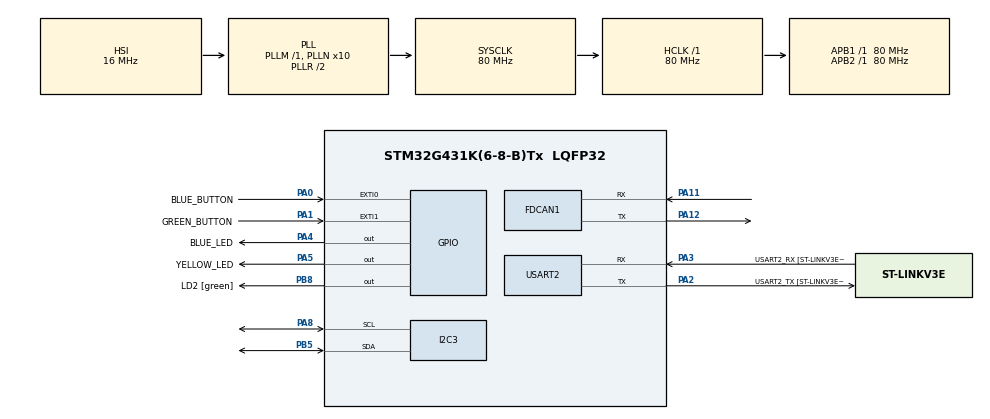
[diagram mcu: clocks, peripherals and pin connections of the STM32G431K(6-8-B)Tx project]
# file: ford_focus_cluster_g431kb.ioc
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ADC1.Channel-0\#ChannelRegularConversion=ADC_CHANNEL_TEMPSENSOR_ADC1
ADC1.Channel-1\#ChannelRegularConversion=ADC_CHANNEL_VREFINT
ADC1.ContinuousConvMode=ENABLE
ADC1.DMAContinuousRequests=ENABLE
ADC1.ExternalTrigConv=ADC_EXTERNALTRIG_T3_TRGO
ADC1.NbrOfConversion=2
ADC1.NbrOfConversionFlag=1
ADC1.OffsetNumber-0\#ChannelRegularConversion=ADC_OFFSET_NONE
ADC1.OffsetNumber-1\#ChannelRegularConversion=ADC_OFFSET_NONE
ADC1.Rank-0\#ChannelRegularConversion=1
ADC1.Rank-1\#ChannelRegularConversion=2
ADC1.SamplingTime-0\#ChannelRegularConversion=ADC_SAMPLETIME_640CYCLES_5
ADC1.SamplingTime-1\#ChannelRegularConversion=ADC_SAMPLETIME_640CYCLES_5
ADC1.master=1
Dma.ADC1.0.Direction=DMA_PERIPH_TO_MEMORY
Dma.ADC1.0.EventEnable=DISABLE
Dma.ADC1.0.Instance=DMA1_Channel1
Dma.ADC1.0.MemDataAlignment=DMA_MDATAALIGN_HALFWORD
Dma.ADC1.0.MemInc=DMA_MINC_ENABLE
Dma.ADC1.0.Mode=DMA_CIRCULAR
Dma.ADC1.0.PeriphDataAlignment=DMA_PDATAALIGN_HALFWORD
Dma.ADC1.0.PeriphInc=DMA_PINC_DISABLE
Dma.ADC1.0.Polarity=HAL_DMAMUX_REQ_GEN_RISING
Dma.ADC1.0.Priority=DMA_PRIORITY_LOW
Dma.ADC1.0.RequestNumber=1
Dma.ADC1.0.SignalID=NONE
Dma.ADC1.0.SyncEnable=DISABLE
Dma.ADC1.0.SyncPolarity=HAL_DMAMUX_SYNC_NO_EVENT
Dma.ADC1.0.SyncRequestNumber=1
Dma.ADC1.0.SyncSignalID=NONE
Dma.Request0=ADC1
FDCAN1.AutoRetransmission=ENABLE
FDCAN1.CalculateBaudRateNominal=125000
FDCAN1.CalculateTimeBitNominal=8000
FDCAN1.CalculateTimeQuantumNominal=500.0
FDCAN1.ClockDivider=FDCAN_CLOCK_DIV2
FDCAN1.DataPrescaler=20
FDCAN1.DataTimeSeg1=13
FDCAN1.DataTimeSeg2=2
FDCAN1.NominalPrescaler=20
FDCAN1.NominalTimeSeg1=13
FDCAN1.NominalTimeSeg2=2
FDCAN1.StdFiltersNbr=1
I2C3.Timing=0x10D19CE4
Mcu.Family=STM32G4
Mcu.Name=STM32G431K(6-8-B)Tx
Mcu.Package=LQFP32
NVIC.ADC1_2_IRQn=true\:0\:0\:false\:false\:true\:true\:true\:true
NVIC.DMA1_Channel1_IRQn=true\:0\:0\:false\:false\:true\:false\:true\:true
NVIC.EXTI1_IRQn=true\:0\:0\:false\:false\:true\:true\:true\:true
NVIC.FDCAN1_IT0_IRQn=true\:0\:0\:false\:false\:true\:true\:true\:true
NVIC.PriorityGroup=NVIC_PRIORITYGROUP_4
NVIC.RNG_IRQn=true\:0\:0\:false\:false\:true\:true\:true\:true
PA0.GPIO_Label=BLUE_BUTTON
PA0.GPIO_ModeDefaultEXTI=GPIO_MODE_IT_FALLING
PA0.GPIO_PuPd=GPIO_PULLUP
PA0.Signal=GPXTI0
PA1.GPIO_Label=GREEN_BUTTON
PA1.GPIO_ModeDefaultEXTI=GPIO_MODE_IT_FALLING
PA1.GPIO_PuPd=GPIO_PULLUP
PA1.Signal=GPXTI1
PA11.Mode=FDCAN_Activate
PA11.Signal=FDCAN1_RX
PA12.Mode=FDCAN_Activate
PA12.Signal=FDCAN1_TX
PA13.GPIO_Label=T_SWDIO
PA13.Mode=Serial_Wire
PA13.Signal=SYS_JTMS-SWDIO
PA14.GPIO_Label=T_SWCLK
PA14.Mode=Serial_Wire
PA14.Signal=SYS_JTCK-SWCLK
PA2.GPIO_Label=USART2_TX [ST-LINKV3E_VCP_RX]
PA2.Mode=Asynchronous
PA2.Signal=USART2_TX
PA3.GPIO_Label=USART2_RX [ST-LINKV3E_VCP_TX]
PA3.Mode=Asynchronous
PA3.Signal=USART2_RX
PA4.GPIO_Label=BLUE_LED
PA4.Signal=GPIO_Output
PA5.GPIO_Label=YELLOW_LED
PA5.Signal=GPIO_Output
PA8.Mode=I2C
PA8.Signal=I2C3_SCL
PB3.GPIO_Label=T_SWO
PB3.Signal=SYS_JTDO-SWO
PB5.Mode=I2C
PB5.Signal=I2C3_SDA
PB8-BOOT0.GPIO_Label=LD2 [green]
PB8-BOOT0.Signal=GPIO_Output
ProjectManager.HeapSize=0x200
ProjectManager.StackSize=0x400
ProjectManager.TargetToolchain=STM32CubeIDE
RCC.ADC12Freq_Value=80000000
RCC.AHBFreq_Value=80000000
RCC.APB1Freq_Value=80000000
RCC.APB1TimFreq_Value=80000000
RCC.APB2Freq_Value=80000000
RCC.APB2TimFreq_Value=80000000
RCC.CK48CLockSelection=RCC_USBCLKSOURCE_HSI48
RCC.CortexFreq_Value=80000000
RCC.EXTERNAL_CLOCK_VALUE=12288000
RCC.HCLKFreq_Value=80000000
RCC.HSE_VALUE=8000000
RCC.HSI48_VALUE=48000000
RCC.HSI_VALUE=16000000
RCC.LSE_VALUE=32768
RCC.PLLN=10
RCC.PLLQ=RCC_PLLQ_DIV4
RCC.SYSCLKFreq_VALUE=80000000
RCC.SYSCLKSource=RCC_SYSCLKSOURCE_PLLCLK
RCC.USBFreq_Value=48000000
RCC.VCOOutputFreq_Value=160000000
TIM3.PeriodNoDither=10000-1
TIM3.Prescaler=500-1
TIM3.TIM_MasterOutputTrigger=TIM_TRGO_UPDATE
USART2.VirtualMode-Asynchronous=VM_ASYNC
USART2.WordLength=WORDLENGTH_8B
VP_ADC1_TempSens_Input.Mode=IN-TempSens
VP_ADC1_Vref_Input.Mode=IN-Vrefint
VP_RNG_VS_RNG.Mode=RNG_Activate
VP_SYS_VS_DBSignals.Mode=DisableDeadBatterySignals
VP_TIM3_VS_ClockSourceINT.Mode=Internal
board=NUCLEO-G431KB

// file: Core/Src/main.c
/* USER CODE BEGIN Header */
/**
 ******************************************************************************
 * @file           : main.c
 * @brief          : Main program body
 ******************************************************************************
 * @attention
 *
 * Copyright (c) 2024 STMicroelectronics.
 * All rights reserved.
 *
 * This software is licensed under terms that can be found in the LICENSE file
 * in the root directory of this software component.
 * If no LICENSE file comes with this software, it is provided AS-IS.
 *
 ******************************************************************************
 */
/* USER CODE END Header */
#include "main.h"
#include "adc.h"
#include "dma.h"
#include "fdcan.h"
#include "i2c.h"
#include "rng.h"
#include "tim.h"
#include "usart.h"
#include "gpio.h"

/* USER CODE BEGIN Includes */
#include <stdio.h>
#include <stdlib.h>
#include <string.h>
#include <math.h>
#include "focus.h"
#include "ssd1306.h"

//#define USE_INTERNAL_TEMP_SENSOR

#ifdef USE_INTERNAL_TEMP_SENSOR
#include "internal_temp_sensor.h"
#endif
/* USER CODE END Includes */

/* USER CODE BEGIN PD */
#define CAN_MSG_REPEAT_PERIOD 100
#define CAN_MSG_TIME_INTERVAL 5
#define RANDOM_MSG_TIME_INTERVAL 2500

#define COOLANT_TEMPERATURE 90 // degC
#define FUEL_LEVEL 75 // %

#define DELAYED_START_INTERVAL 4000

#define TOGGLE_TIME_INTERVAL 1000

#define STOP_RANDOM_MSG
#define RANDOM_MSG_ID 0x100

//#define SEND_ALL_POSSIBLE_IDS
#define PATTERN_TO_BE_SEND  0xAA // 0b00011000 // 0xAA or 0x55

#define STARTING_FRAME 0x00

/* USER CODE END PD */

/* USER CODE BEGIN PV */
FDCAN_RxHeaderTypeDef RxHeader;
uint8_t RxData[8];

FDCAN_TxHeaderTypeDef TxHeader;
uint8_t TxData8[8];
uint8_t TxData8Random[8];
uint8_t Random8Bytes[8];
uint32_t TxMailbox;

uint16_t vehicle_speed = 0;

uint16_t engine_speed = 0;

uint32_t CanMsgSoftTimer;
uint32_t RandomMsgSoftTimer;
uint32_t DelayedStartSoftTimer;
uint32_t ToggleSoftTimer;
uint32_t OdometerSoftTimer;
uint32_t OledSoftTimer;

volatile uint8_t rng_number_flag = 0;
uint8_t rng_number_count = 0;
uint8_t rng_message_flag = 0;
uint32_t rng_number;

uint8_t toggle_variable = 0;
uint8_t flip_me_variable = 0xAA;  // odometer

volatile uint8_t green_button_flag = 0;

uint16_t msg_id = STARTING_FRAME;

char lcd_line[128];

#ifdef USE_INTERNAL_TEMP_SENSOR
typedef struct AdcValues
{

	uint16_t Raw[2]; /* Raw values from ADC */
	int32_t IntSensTmp; /* Temperature */

} adcval_t;

adcval_t Adc;

typedef struct Flags
{
	uint8_t ADCCMPLT;

} flag_t;

flag_t Flg =
{ 0, };
#endif

/* USER CODE END PV */

void SystemClock_Config(void);
/* USER CODE BEGIN PFP */
void MarkCanFrame(void);
void ComposeRandomMessage(void);
void DisplayUnits(void);
void EmulateIncreasingMileage(void);
/* USER CODE END PFP */

int main(void)
{

	/* MCU Configuration--------------------------------------------------------*/

	/* Reset of all peripherals, Initializes the Flash interface and the Systick. */
	HAL_Init();

	/* Configure the system clock */
	SystemClock_Config();

	/* Initialize all configured peripherals */
	MX_GPIO_Init();
	MX_DMA_Init();
	MX_USART2_UART_Init();
	MX_FDCAN1_Init();
	MX_I2C3_Init();
	MX_RNG_Init();
	MX_ADC1_Init();
	MX_TIM3_Init();
	/* USER CODE BEGIN 2 */

#ifdef USE_INTERNAL_TEMP_SENSOR
	HAL_ADCEx_Calibration_Start(&hadc1, ADC_SINGLE_ENDED);
	HAL_ADC_Start_DMA(&hadc1, (uint32_t*) Adc.Raw, 2);
	HAL_TIM_Base_Start(&htim3); /* This timer starts ADC conversion */
#endif

	ssd1306_Init();
	ssd1306_Fill(Black);
	ssd1306_SetCursor(20, 0);
	ssd1306_WriteString("ufnalski.edu.pl", Font_6x8, White);
	ssd1306_SetCursor(2, 11);
	ssd1306_WriteString("Ford Focus MK3 2013", Font_6x8, White);
	ssd1306_SetCursor(10, 22);
	ssd1306_WriteString("Instrument cluster", Font_6x8, White);
	ssd1306_SetCursor(2, 33);
	ssd1306_WriteString("CAN messages hacking", Font_6x8, White);
	ssd1306_UpdateScreen();

	HAL_RNG_GenerateRandomNumber_IT(&hrng);

	HAL_FDCAN_ConfigGlobalFilter(&hfdcan1, FDCAN_REJECT, FDCAN_REJECT,
	FDCAN_REJECT_REMOTE, FDCAN_REJECT_REMOTE);

	if (HAL_FDCAN_Start(&hfdcan1) != HAL_OK)
	{
		Error_Handler();
	}

	if (HAL_FDCAN_ActivateNotification(&hfdcan1, FDCAN_IT_RX_FIFO0_NEW_MESSAGE,
			0) != HAL_OK)
	{
		/* Notification Error */
		Error_Handler();
	}

	TxHeader.IdType = FDCAN_STANDARD_ID;
	TxHeader.TxFrameType = FDCAN_DATA_FRAME;
	TxHeader.ErrorStateIndicator = FDCAN_ESI_ACTIVE;
	TxHeader.BitRateSwitch = FDCAN_BRS_OFF;
	TxHeader.FDFormat = FDCAN_CLASSIC_CAN;
	TxHeader.TxEventFifoControl = FDCAN_NO_TX_EVENTS;
	TxHeader.MessageMarker = 0;

	CanMsgSoftTimer = HAL_GetTick();
	RandomMsgSoftTimer = HAL_GetTick();
	DelayedStartSoftTimer = HAL_GetTick();
	ToggleSoftTimer = HAL_GetTick();
	OdometerSoftTimer = HAL_GetTick();
	OledSoftTimer = HAL_GetTick();
	memset(RxData, 0xFF, sizeof(RxData));

	/* USER CODE END 2 */

	/* Infinite loop */
	/* USER CODE BEGIN WHILE */
	while (1)
	{

		if (HAL_GetTick() - ToggleSoftTimer > TOGGLE_TIME_INTERVAL)
		{
			ToggleSoftTimer = HAL_GetTick();
			toggle_variable ^= 1;
		}

#ifdef SEND_ALL_POSSIBLE_IDS
		if ((HAL_GetTick() - CanMsgSoftTimer > CAN_MSG_REPEAT_PERIOD)
				&& (msg_id <= 0x7FF))
		{
			CanMsgSoftTimer = HAL_GetTick();
			ssd1306_SetCursor(2, 44);
						sprintf(lcd_line, "Msg ID: %d of %d", msg_id, 0x7FF);
						ssd1306_WriteString(lcd_line, Font_6x8, White);
						ssd1306_UpdateScreen();

						PrintCanFrame0xToUart(&TxHeader, TxData8);
						MarkCanFrame();

			send_ignition_on(CAN_MSG_TIME_INTERVAL);

			HAL_Delay(CAN_MSG_TIME_INTERVAL);
			TxHeader.DataLength = FDCAN_DLC_BYTES_8;
			TxHeader.Identifier = msg_id;
			memset(TxData8, PATTERN_TO_BE_SEND, sizeof(TxData8));

			if (msg_id != 0x80) // something in this frame switches off the cluster permanently
			{
				if (HAL_FDCAN_AddMessageToTxFifoQ(&hfdcan1, &TxHeader, TxData8)
						!= HAL_OK)
				{
					Error_Handler();
				}
			}
			msg_id++;

			HAL_GPIO_TogglePin(BLUE_LED_GPIO_Port,
			BLUE_LED_Pin);
		}

#else

		ComposeRandomMessage();

		if (HAL_GetTick() - CanMsgSoftTimer > CAN_MSG_TIME_INTERVAL)
		{
			CanMsgSoftTimer = HAL_GetTick();

			if (HAL_GetTick() - DelayedStartSoftTimer > DELAYED_START_INTERVAL)
			{
				CalculateRpmSpeed(&engine_speed, &vehicle_speed);
			}

			HAL_Delay(CAN_MSG_TIME_INTERVAL);
			TxHeader.DataLength = FDCAN_DLC_BYTES_8;
			TxHeader.Identifier = RANDOM_MSG_ID;
			if ((HAL_GetTick() - RandomMsgSoftTimer > RANDOM_MSG_TIME_INTERVAL)
					&& (rng_message_flag == 1))
			{
				RandomMsgSoftTimer = HAL_GetTick();
				rng_message_flag = 0;
				HAL_RNG_GenerateRandomNumber_IT(&hrng);
				memcpy(TxData8Random, Random8Bytes, sizeof(TxData8Random));
				TxData8Random[0] = 0;
				TxData8Random[1] = 0xff;
				TxData8Random[2] = 0;
				TxData8Random[3] = 0;
				TxData8Random[4] = 0xff;
				TxData8Random[5] = 0;
				TxData8Random[6] = 0;
				TxData8Random[7] = 0;
				PrintCanFrame0bToUart(&TxHeader, TxData8Random);
				PrintCanFrame0xToUart(&TxHeader, TxData8Random);
			}
			MarkCanFrame();
			memcpy(TxData8, TxData8Random, sizeof(TxData8));
#ifndef STOP_RANDOM_MSG
			if (HAL_FDCAN_AddMessageToTxFifoQ(&hfdcan1, &TxHeader, TxData8)
					!= HAL_OK)
			{
				Error_Handler();
			}
#endif

			send_ignition_on(CAN_MSG_TIME_INTERVAL);
			send_engine_status(CAN_MSG_TIME_INTERVAL);
			send_battery_status(g_batt_fail, CAN_MSG_TIME_INTERVAL);

			EmulateIncreasingMileage();
			send_airbag_status(flip_me_variable, CAN_MSG_TIME_INTERVAL);

			send_dimming_mode(CAN_MSG_TIME_INTERVAL);
			send_dimm_level(CAN_MSG_TIME_INTERVAL);
			send_turn_indicator((g_turn_l && toggle_variable),
					(g_turn_r && toggle_variable),
					g_cruise_speed, CAN_MSG_TIME_INTERVAL);

			send_parking_brake(0, CAN_MSG_TIME_INTERVAL);

			send_rpm_and_speed(engine_speed, vehicle_speed, 0,
			CAN_MSG_TIME_INTERVAL);
			send_fuel_level(FUEL_LEVEL, CAN_MSG_TIME_INTERVAL);
			send_engine_temp(COOLANT_TEMPERATURE, CAN_MSG_TIME_INTERVAL);

#ifdef USE_INTERNAL_TEMP_SENSOR
			if (Flg.ADCCMPLT) /* Conversion completed, do calculations */
			{
				/* Temperature Sensor ADC-value, Reference Voltage ADC-value (if use) */
				Adc.IntSensTmp = TMPSENSOR_getTemperature(Adc.Raw[0],
						Adc.Raw[1]);

				Flg.ADCCMPLT = 0; /* Nullify flag */

			}
			ssd1306_SetCursor(2, 44);
			sprintf(lcd_line, "Core temp.: %ld deg. C", Adc.IntSensTmp);
			ssd1306_WriteString(lcd_line, Font_6x8, White);
			ssd1306_UpdateScreen();
			send_outside_temp((int16_t) Adc.IntSensTmp, CAN_MSG_TIME_INTERVAL);
#else
			send_outside_temp(-31, CAN_MSG_TIME_INTERVAL);
#endif
			send_instant_fuel(g_high_beam, g_rear_fog, 127,
			CAN_MSG_TIME_INTERVAL);
			send_adaptive_cruise_control(g_acc_distance, g_acc_distance2,
			g_cruise && g_acc_on, g_cruise_standby, CAN_MSG_TIME_INTERVAL);

//			if (green_button_flag == 1)
//			{
//				green_button_flag = 0;
//				send_play_alarm(CAN_MSG_TIME_INTERVAL);
//			}

			DisplayUnits();
			HAL_GPIO_TogglePin(BLUE_LED_GPIO_Port,
			BLUE_LED_Pin);
		}
#endif
		/* USER CODE END WHILE */

	}
}

void SystemClock_Config(void)
{
	RCC_OscInitTypeDef RCC_OscInitStruct =
	{ 0 };
	RCC_ClkInitTypeDef RCC_ClkInitStruct =
	{ 0 };

	/** Configure the main internal regulator output voltage
	 */
	HAL_PWREx_ControlVoltageScaling(PWR_REGULATOR_VOLTAGE_SCALE1);

	/** Initializes the RCC Oscillators according to the specified parameters
	 * in the RCC_OscInitTypeDef structure.
	 */
	RCC_OscInitStruct.OscillatorType = RCC_OSCILLATORTYPE_HSI
			| RCC_OSCILLATORTYPE_HSI48;
	RCC_OscInitStruct.HSIState = RCC_HSI_ON;
	RCC_OscInitStruct.HSICalibrationValue = RCC_HSICALIBRATION_DEFAULT;
	RCC_OscInitStruct.HSI48State = RCC_HSI48_ON;
	RCC_OscInitStruct.PLL.PLLState = RCC_PLL_ON;
	RCC_OscInitStruct.PLL.PLLSource = RCC_PLLSOURCE_HSI;
	RCC_OscInitStruct.PLL.PLLM = RCC_PLLM_DIV1;
	RCC_OscInitStruct.PLL.PLLN = 10;
	RCC_OscInitStruct.PLL.PLLP = RCC_PLLP_DIV2;
	RCC_OscInitStruct.PLL.PLLQ = RCC_PLLQ_DIV4;
	RCC_OscInitStruct.PLL.PLLR = RCC_PLLR_DIV2;
	if (HAL_RCC_OscConfig(&RCC_OscInitStruct) != HAL_OK)
	{
		Error_Handler();
	}

	/** Initializes the CPU, AHB and APB buses clocks
	 */
	RCC_ClkInitStruct.ClockType = RCC_CLOCKTYPE_HCLK | RCC_CLOCKTYPE_SYSCLK
			| RCC_CLOCKTYPE_PCLK1 | RCC_CLOCKTYPE_PCLK2;
	RCC_ClkInitStruct.SYSCLKSource = RCC_SYSCLKSOURCE_PLLCLK;
	RCC_ClkInitStruct.AHBCLKDivider = RCC_SYSCLK_DIV1;
	RCC_ClkInitStruct.APB1CLKDivider = RCC_HCLK_DIV1;
	RCC_ClkInitStruct.APB2CLKDivider = RCC_HCLK_DIV1;

	if (HAL_RCC_ClockConfig(&RCC_ClkInitStruct, FLASH_LATENCY_2) != HAL_OK)
	{
		Error_Handler();
	}
}

/* USER CODE BEGIN 4 */
#ifdef USE_INTERNAL_TEMP_SENSOR
void HAL_ADC_ConvCpltCallback(ADC_HandleTypeDef *hadc)
{
	if (hadc->Instance == ADC1) /* Check if the interrupt comes from ACD1 */
	{
		/* Set flag to true */
		Flg.ADCCMPLT = 255;
	}
}
#endif

void HAL_FDCAN_RxFifo0Callback(FDCAN_HandleTypeDef *hfdcan, uint32_t RxFifo0ITs)
{
	if ((RxFifo0ITs & FDCAN_IT_RX_FIFO0_NEW_MESSAGE) != RESET)
	{
		/* Retreive Rx messages from RX FIFO0 */
		if (HAL_FDCAN_GetRxMessage(hfdcan, FDCAN_RX_FIFO0, &RxHeader, RxData)
				!= HAL_OK)
		{
			/* Reception Error */
			Error_Handler();
		}

		if (HAL_FDCAN_ActivateNotification(hfdcan,
		FDCAN_IT_RX_FIFO0_NEW_MESSAGE, 0) != HAL_OK)
		{
			/* Notification Error */
			Error_Handler();
		}
		else
		{
			HAL_GPIO_TogglePin(YELLOW_LED_GPIO_Port,
			YELLOW_LED_Pin);
		}
	}
}

void HAL_GPIO_EXTI_Callback(uint16_t GPIO_Pin)
{
	if (GPIO_Pin == GREEN_BUTTON_Pin)
	{
		green_button_flag = 1;
	}
}

void HAL_RNG_ReadyDataCallback(RNG_HandleTypeDef *hrng, uint32_t random32bit)
{
	rng_number_flag = 1;
}

void MarkCanFrame(void)
{
	if (green_button_flag == 1)
	{
		green_button_flag = 0;
		uint8_t uart_message[128];
		uint16_t message_size = sprintf((char*) uart_message,
				"--> green check mark\r\n");
		HAL_UART_Transmit(&huart2, (uint8_t*) uart_message, message_size, 200);
	}
}

void ComposeRandomMessage(void)
{
	typedef union
	{
		uint32_t uint32;
		uint8_t uint8[4];
	} uint32to8_t;

	uint32to8_t uint32to8_converter;

	if ((rng_number_flag == 1) && (rng_message_flag == 0)
			&& (rng_number_count < 2))
	{
		uint32to8_converter.uint32 = HAL_RNG_ReadLastRandomNumber(&hrng);
		rng_number_flag = 0;
		for (uint8_t i = 0; i < 4; i++)
		{
			Random8Bytes[i + 4 * rng_number_count] =
					uint32to8_converter.uint8[i];
		}
		rng_number_count++;
		HAL_RNG_GenerateRandomNumber_IT(&hrng);
		if (rng_number_count == 2)
		{
			rng_message_flag = 1;
			rng_number_count = 0;
		}
	}
}

void DisplayUnits(void)
{
	if (HAL_GetTick() - OledSoftTimer > 1000)
	{
		OledSoftTimer = HAL_GetTick();

		if ((RxData[2] & 0x0F) == 0x02)
		{
			sprintf(lcd_line, "Unt: meters + deg. C  ");
		}
		else if ((RxData[2] & 0x0F) == 0x03)
		{
			sprintf(lcd_line, "Unt: meters + deg. F  ");
		}
		else if ((RxData[2] & 0x0F) == 0x00)
		{
			sprintf(lcd_line, "Unt: miles + deg. C   ");
		}
		else if ((RxData[2] & 0x0F) == 0x01)
		{
			sprintf(lcd_line, "Unt: miles + deg. F   ");
		}
		else
		{
			sprintf(lcd_line, "Sth went wrong!   ");
		}
		ssd1306_SetCursor(2, 55);
		ssd1306_WriteString(lcd_line, Font_6x8, White);
		ssd1306_UpdateScreen();
	}
}

void EmulateIncreasingMileage(void)
{
	if (HAL_GetTick() - OdometerSoftTimer > 20000) // 50 km/h
	{
		OdometerSoftTimer = HAL_GetTick();
		flip_me_variable ^= 0xFF;
	}
}

/* USER CODE END 4 */

void Error_Handler(void)
{
	__disable_irq();
	while (1)
	{
	}
}
